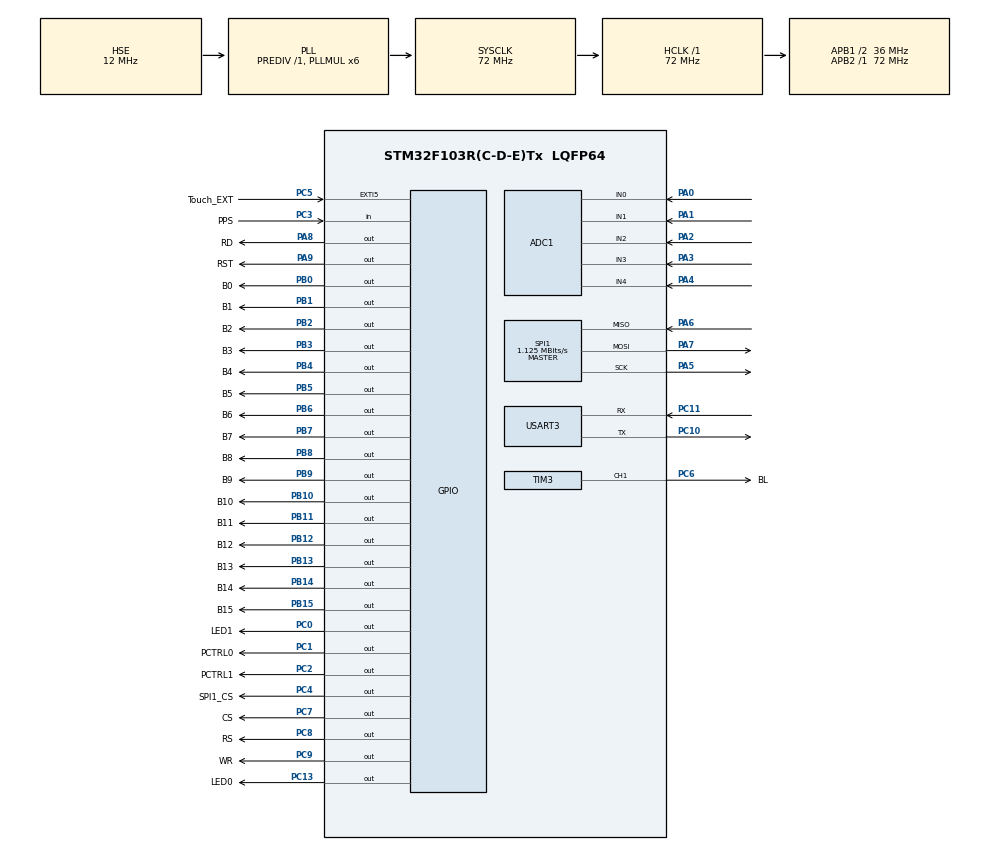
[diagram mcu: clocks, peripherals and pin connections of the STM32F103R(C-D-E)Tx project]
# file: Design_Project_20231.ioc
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ADC1.Channel-1\#ChannelRegularConversion=ADC_CHANNEL_0
ADC1.Channel-2\#ChannelRegularConversion=ADC_CHANNEL_1
ADC1.Channel-3\#ChannelRegularConversion=ADC_CHANNEL_2
ADC1.Channel-4\#ChannelRegularConversion=ADC_CHANNEL_3
ADC1.Channel-5\#ChannelRegularConversion=ADC_CHANNEL_4
ADC1.NbrOfConversion=5
ADC1.NbrOfConversionFlag=1
ADC1.Rank-1\#ChannelRegularConversion=1
ADC1.Rank-2\#ChannelRegularConversion=2
ADC1.Rank-3\#ChannelRegularConversion=3
ADC1.Rank-4\#ChannelRegularConversion=4
ADC1.Rank-5\#ChannelRegularConversion=5
ADC1.SamplingTime-1\#ChannelRegularConversion=ADC_SAMPLETIME_239CYCLES_5
ADC1.SamplingTime-2\#ChannelRegularConversion=ADC_SAMPLETIME_239CYCLES_5
ADC1.SamplingTime-3\#ChannelRegularConversion=ADC_SAMPLETIME_239CYCLES_5
ADC1.SamplingTime-4\#ChannelRegularConversion=ADC_SAMPLETIME_239CYCLES_5
ADC1.SamplingTime-5\#ChannelRegularConversion=ADC_SAMPLETIME_239CYCLES_5
ADC1.master=1
FREERTOS.HEAP_NUMBER=5
FREERTOS.Tasks01=mainTask,24,256,MainTask,Default,NULL,Dynamic,NULL,NULL;TouchTask,8,256,TouchHandler,Default,NULL,Dynamic,NULL,NULL
FREERTOS.configTOTAL_HEAP_SIZE=12288
Mcu.Family=STM32F1
Mcu.Name=STM32F103R(C-D-E)Tx
Mcu.Package=LQFP64
NVIC.ADC1_2_IRQn=true\:5\:0\:false\:false\:true\:true\:true\:true\:true
NVIC.EXTI9_5_IRQn=true\:5\:0\:false\:false\:true\:true\:true\:true\:true
NVIC.PriorityGroup=NVIC_PRIORITYGROUP_4
NVIC.RTC_IRQn=true\:5\:0\:false\:false\:true\:true\:true\:true\:true
NVIC.TIM7_IRQn=true\:15\:0\:false\:false\:true\:false\:false\:true\:true
NVIC.TimeBase=TIM7_IRQn
NVIC.TimeBaseIP=TIM7
NVIC.USART3_IRQn=true\:5\:0\:false\:false\:true\:true\:true\:true\:true
PA0-WKUP.Signal=ADCx_IN0
PA1.Signal=ADCx_IN1
PA13.Mode=Serial_Wire
PA13.Signal=SYS_JTMS-SWDIO
PA14.Mode=Serial_Wire
PA14.Signal=SYS_JTCK-SWCLK
PA2.Signal=ADCx_IN2
PA3.Signal=ADCx_IN3
PA4.Signal=ADCx_IN4
PA5.Mode=Full_Duplex_Master
PA5.Signal=SPI1_SCK
PA6.Mode=Full_Duplex_Master
PA6.Signal=SPI1_MISO
PA7.Mode=Full_Duplex_Master
PA7.Signal=SPI1_MOSI
PA8.GPIO_Label=RD
PA8.GPIO_Speed=GPIO_SPEED_FREQ_HIGH
PA8.PinState=GPIO_PIN_SET
PA8.Signal=GPIO_Output
PA9.GPIO_Label=RST
PA9.GPIO_Speed=GPIO_SPEED_FREQ_HIGH
PA9.PinState=GPIO_PIN_SET
PA9.Signal=GPIO_Output
PB0.GPIO_Label=B0
PB0.GPIO_Speed=GPIO_SPEED_FREQ_HIGH
PB0.PinState=GPIO_PIN_SET
PB0.Signal=GPIO_Output
PB1.GPIO_Label=B1
PB1.GPIO_Speed=GPIO_SPEED_FREQ_HIGH
PB1.PinState=GPIO_PIN_SET
PB1.Signal=GPIO_Output
PB10.GPIO_Label=B10
PB10.GPIO_Speed=GPIO_SPEED_FREQ_HIGH
PB10.PinState=GPIO_PIN_SET
PB10.Signal=GPIO_Output
PB11.GPIO_Label=B11
PB11.GPIO_PuPd=GPIO_NOPULL
PB11.GPIO_Speed=GPIO_SPEED_FREQ_HIGH
PB11.PinState=GPIO_PIN_SET
PB11.Signal=GPIO_Output
PB12.GPIO_Label=B12
PB12.GPIO_Speed=GPIO_SPEED_FREQ_HIGH
PB12.PinState=GPIO_PIN_SET
PB12.Signal=GPIO_Output
PB13.GPIO_Label=B13
PB13.GPIO_Speed=GPIO_SPEED_FREQ_HIGH
PB13.PinState=GPIO_PIN_SET
PB13.Signal=GPIO_Output
PB14.GPIO_Label=B14
PB14.GPIO_Speed=GPIO_SPEED_FREQ_HIGH
PB14.PinState=GPIO_PIN_SET
PB14.Signal=GPIO_Output
PB15.GPIO_Label=B15
PB15.GPIO_Speed=GPIO_SPEED_FREQ_HIGH
PB15.PinState=GPIO_PIN_SET
PB15.Signal=GPIO_Output
PB2.GPIO_Label=B2
PB2.GPIO_Speed=GPIO_SPEED_FREQ_HIGH
PB2.PinState=GPIO_PIN_SET
PB2.Signal=GPIO_Output
PB3.GPIO_Label=B3
PB3.GPIO_Speed=GPIO_SPEED_FREQ_HIGH
PB3.PinState=GPIO_PIN_SET
PB3.Signal=GPIO_Output
PB4.GPIO_Label=B4
PB4.GPIO_Speed=GPIO_SPEED_FREQ_HIGH
PB4.PinState=GPIO_PIN_SET
PB4.Signal=GPIO_Output
PB5.GPIO_Label=B5
PB5.GPIO_Speed=GPIO_SPEED_FREQ_HIGH
PB5.PinState=GPIO_PIN_SET
PB5.Signal=GPIO_Output
PB6.GPIO_Label=B6
PB6.GPIO_Speed=GPIO_SPEED_FREQ_HIGH
PB6.PinState=GPIO_PIN_SET
PB6.Signal=GPIO_Output
PB7.GPIO_Label=B7
PB7.GPIO_Speed=GPIO_SPEED_FREQ_HIGH
PB7.PinState=GPIO_PIN_SET
PB7.Signal=GPIO_Output
PB8.GPIO_Label=B8
PB8.GPIO_Speed=GPIO_SPEED_FREQ_HIGH
PB8.PinState=GPIO_PIN_SET
PB8.Signal=GPIO_Output
PB9.GPIO_Label=B9
PB9.GPIO_Speed=GPIO_SPEED_FREQ_HIGH
PB9.PinState=GPIO_PIN_SET
PB9.Signal=GPIO_Output
PC0.GPIO_Label=LED1
PC0.GPIO_PuPd=GPIO_PULLUP
PC0.PinState=GPIO_PIN_RESET
PC0.Signal=GPIO_Output
PC1.GPIO_Label=PCTRL0
PC1.GPIO_PuPd=GPIO_PULLUP
PC1.GPIO_Speed=GPIO_SPEED_FREQ_MEDIUM
PC1.Signal=GPIO_Output
PC10.Mode=Asynchronous
PC10.Signal=USART3_TX
PC11.Mode=Asynchronous
PC11.Signal=USART3_RX
PC13-TAMPER-RTC.GPIO_Label=LED0
PC13-TAMPER-RTC.GPIO_PuPd=GPIO_PULLUP
PC13-TAMPER-RTC.Signal=GPIO_Output
PC14-OSC32_IN.Mode=LSE-External-Oscillator
PC14-OSC32_IN.Signal=RCC_OSC32_IN
PC15-OSC32_OUT.Mode=LSE-External-Oscillator
PC15-OSC32_OUT.Signal=RCC_OSC32_OUT
PC2.GPIO_Label=PCTRL1
PC2.GPIO_PuPd=GPIO_PULLDOWN
PC2.GPIO_Speed=GPIO_SPEED_FREQ_MEDIUM
PC2.Signal=GPIO_Output
PC3.GPIO_Label=PPS
PC3.GPIO_PuPd=GPIO_PULLUP
PC3.Signal=GPIO_Input
PC4.GPIO_Label=SPI1_CS
PC4.GPIO_PuPd=GPIO_PULLUP
PC4.GPIO_Speed=GPIO_SPEED_FREQ_HIGH
PC4.Signal=GPIO_Output
PC5.GPIO_Label=Touch_EXT
PC5.GPIO_PuPd=GPIO_PULLUP
PC5.Signal=GPXTI5
PC6.GPIO_Label=BL
PC6.GPIO_Speed=GPIO_SPEED_FREQ_HIGH
PC6.Signal=S_TIM3_CH1
PC7.GPIO_Label=CS
PC7.GPIO_PuPd=GPIO_PULLUP
PC7.GPIO_Speed=GPIO_SPEED_FREQ_HIGH
PC7.PinState=GPIO_PIN_SET
PC7.Signal=GPIO_Output
PC8.GPIO_Label=RS
PC8.GPIO_Speed=GPIO_SPEED_FREQ_HIGH
PC8.PinState=GPIO_PIN_SET
PC8.Signal=GPIO_Output
PC9.GPIO_Label=WR
PC9.GPIO_Speed=GPIO_SPEED_FREQ_HIGH
PC9.PinState=GPIO_PIN_SET
PC9.Signal=GPIO_Output
PD0-OSC_IN.Mode=HSE-External-Oscillator
PD0-OSC_IN.Signal=RCC_OSC_IN
PD1-OSC_OUT.Mode=HSE-External-Oscillator
PD1-OSC_OUT.Signal=RCC_OSC_OUT
ProjectManager.HeapSize=0x200
ProjectManager.StackSize=0x400
ProjectManager.TargetToolchain=Makefile
RCC.ADCPresc=RCC_ADCPCLK2_DIV6
RCC.AHBFreq_Value=72000000
RCC.APB1CLKDivider=RCC_HCLK_DIV2
RCC.APB1Freq_Value=36000000
RCC.APB1TimFreq_Value=72000000
RCC.APB2Freq_Value=72000000
RCC.APB2TimFreq_Value=72000000
RCC.HCLKFreq_Value=72000000
RCC.HSE_VALUE=12000000
RCC.PLLMUL=RCC_PLL_MUL6
RCC.PLLSourceVirtual=RCC_PLLSOURCE_HSE
RCC.RTCClockSelection=RCC_RTCCLKSOURCE_LSE
RCC.SYSCLKFreq_VALUE=72000000
RCC.SYSCLKSource=RCC_SYSCLKSOURCE_PLLCLK
RCC.USBFreq_Value=72000000
RTC.AutoPrediv=RTC_AUTO_1_SECOND
RTC.Format=RTC_FORMAT_BIN
RTC.OutPut=RTC_OUTPUTSOURCE_NONE
SH.ADCx_IN0.0=ADC1_IN0,IN0
SH.ADCx_IN1.0=ADC1_IN1,IN1
SH.ADCx_IN2.0=ADC1_IN2,IN2
SH.ADCx_IN3.0=ADC1_IN3,IN3
SH.ADCx_IN4.0=ADC1_IN4,IN4
SH.S_TIM3_CH1.0=TIM3_CH1,PWM Generation1 CH1
SPI1.BaudRatePrescaler=SPI_BAUDRATEPRESCALER_64
SPI1.CalculateBaudRate=1.125 MBits/s
SPI1.Direction=SPI_DIRECTION_2LINES
SPI1.Mode=SPI_MODE_MASTER
SPI1.VirtualType=VM_MASTER
TIM3.Channel-PWM\ Generation1\ CH1=TIM_CHANNEL_1
TIM3.Period=9
TIM3.Prescaler=71
USART3.VirtualMode=VM_ASYNC
VP_FREERTOS_VS_CMSIS_V2.Mode=CMSIS_V2
VP_RTC_No_RTC_Output.Mode=RTC_OUT_NO
VP_RTC_VS_RTC_Activate.Mode=RTC_Enabled
VP_RTC_VS_RTC_Calendar.Mode=RTC_Calendar
VP_SYS_VS_tim7.Mode=TIM7
VP_TIM3_VS_ClockSourceINT.Mode=Internal
board=custom

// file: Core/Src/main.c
/* USER CODE BEGIN Header */
/**
 ******************************************************************************
 * @file           : main.c
 * @brief          : Main program body
 ******************************************************************************
 * @attention
 *
 * Copyright (c) 2023 STMicroelectronics.
 * All rights reserved.
 *
 * This software is licensed under terms that can be found in the LICENSE file
 * in the root directory of this software component.
 * If no LICENSE file comes with this software, it is provided AS-IS.
 *
 ******************************************************************************
 */
/* USER CODE END Header */
#include "main.h"
#include "cmsis_os.h"
#include "adc.h"
#include "rtc.h"
#include "spi.h"
#include "tim.h"
#include "usart.h"
#include "gpio.h"

/* USER CODE BEGIN Includes */
#include "lcd.h"
/* USER CODE END Includes */

void SystemClock_Config(void);
void MX_FREERTOS_Init(void);

int main(void)
{

  /* MCU Configuration--------------------------------------------------------*/

  /* Reset of all peripherals, Initializes the Flash interface and the Systick. */
  HAL_Init();

  /* Configure the system clock */
  SystemClock_Config();

  /* Initialize all configured peripherals */
  MX_GPIO_Init();
  MX_ADC1_Init();
  MX_RTC_Init();
  MX_SPI1_Init();
  MX_TIM3_Init();
  MX_USART3_UART_Init();
  /* USER CODE BEGIN 2 */

  HAL_GPIO_WritePin(PCTRL0_GPIO_Port, PCTRL0_Pin, GPIO_PIN_SET);

  HAL_GPIO_WritePin(PCTRL1_GPIO_Port, PCTRL1_Pin, GPIO_PIN_SET);

  ILI9341_Init();

  __HAL_TIM_SetCompare(&htim3, TIM_CHANNEL_1, 100);
  HAL_TIM_PWM_Start(&htim3, TIM_CHANNEL_1);

  ILI9341_FillScreen(ILI9341_YELLOW);

  uint32_t tickNow = HAL_GetTick();
  ILI9341_FillScreen(ILI9341_RED);
  ILI9341_FillScreen(ILI9341_GREEN);
  ILI9341_FillScreen(ILI9341_BLUE);
  tickNow = HAL_GetTick() - tickNow;

  char tempStr[15] = "";
  sprintf(tempStr, "Took %ld ms", tickNow);
  ILI9341_WriteString(80, 120, tempStr, Font_16x26, ILI9341_WHITE, ILI9341_BLACK);

  /* USER CODE END 2 */

  /* Init scheduler */
  osKernelInitialize();

  /* Call init function for freertos objects (in freertos.c) */
  MX_FREERTOS_Init();

  /* Start scheduler */
  osKernelStart();

  /* We should never get here as control is now taken by the scheduler */
  /* Infinite loop */
  while (1)
  {

  }
}

void SystemClock_Config(void)
{
  RCC_OscInitTypeDef RCC_OscInitStruct = {0};
  RCC_ClkInitTypeDef RCC_ClkInitStruct = {0};
  RCC_PeriphCLKInitTypeDef PeriphClkInit = {0};

  /** Initializes the RCC Oscillators according to the specified parameters
  * in the RCC_OscInitTypeDef structure.
  */
  RCC_OscInitStruct.OscillatorType = RCC_OSCILLATORTYPE_HSE|RCC_OSCILLATORTYPE_LSE;
  RCC_OscInitStruct.HSEState = RCC_HSE_ON;
  RCC_OscInitStruct.HSEPredivValue = RCC_HSE_PREDIV_DIV1;
  RCC_OscInitStruct.LSEState = RCC_LSE_ON;
  RCC_OscInitStruct.HSIState = RCC_HSI_ON;
  RCC_OscInitStruct.PLL.PLLState = RCC_PLL_ON;
  RCC_OscInitStruct.PLL.PLLSource = RCC_PLLSOURCE_HSE;
  RCC_OscInitStruct.PLL.PLLMUL = RCC_PLL_MUL6;
  if (HAL_RCC_OscConfig(&RCC_OscInitStruct) != HAL_OK)
  {
    Error_Handler();
  }

  /** Initializes the CPU, AHB and APB buses clocks
  */
  RCC_ClkInitStruct.ClockType = RCC_CLOCKTYPE_HCLK|RCC_CLOCKTYPE_SYSCLK
                              |RCC_CLOCKTYPE_PCLK1|RCC_CLOCKTYPE_PCLK2;
  RCC_ClkInitStruct.SYSCLKSource = RCC_SYSCLKSOURCE_PLLCLK;
  RCC_ClkInitStruct.AHBCLKDivider = RCC_SYSCLK_DIV1;
  RCC_ClkInitStruct.APB1CLKDivider = RCC_HCLK_DIV2;
  RCC_ClkInitStruct.APB2CLKDivider = RCC_HCLK_DIV1;

  if (HAL_RCC_ClockConfig(&RCC_ClkInitStruct, FLASH_LATENCY_2) != HAL_OK)
  {
    Error_Handler();
  }
  PeriphClkInit.PeriphClockSelection = RCC_PERIPHCLK_RTC|RCC_PERIPHCLK_ADC;
  PeriphClkInit.RTCClockSelection = RCC_RTCCLKSOURCE_LSE;
  PeriphClkInit.AdcClockSelection = RCC_ADCPCLK2_DIV6;
  if (HAL_RCCEx_PeriphCLKConfig(&PeriphClkInit) != HAL_OK)
  {
    Error_Handler();
  }
}

void HAL_TIM_PeriodElapsedCallback(TIM_HandleTypeDef *htim)
{
  if (htim->Instance == TIM7) {
    HAL_IncTick();
  }
}

void Error_Handler(void)
{
  __disable_irq();
  while (1)
  {
  }
}

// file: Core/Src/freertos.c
/* USER CODE BEGIN Header */
/**
 ******************************************************************************
 * File Name          : freertos.c
 * Description        : Code for freertos applications
 ******************************************************************************
 * @attention
 *
 * Copyright (c) 2023 STMicroelectronics.
 * All rights reserved.
 *
 * This software is licensed under terms that can be found in the LICENSE file
 * in the root directory of this software component.
 * If no LICENSE file comes with this software, it is provided AS-IS.
 *
 ******************************************************************************
 */
/* USER CODE END Header */

#include "FreeRTOS.h"
#include "task.h"
#include "main.h"
#include "cmsis_os.h"

/* USER CODE BEGIN Includes */

#include <stdio.h>

#include "rtc.h"
#include "lcd.h"
#include "tim.h"
#include "font.h"

/* USER CODE END Includes */

/* Definitions for mainTask */
osThreadId_t mainTaskHandle;
const osThreadAttr_t mainTask_attributes = {
  .name = "mainTask",
  .stack_size = 256 * 4,
  .priority = (osPriority_t) osPriorityNormal,
};
/* Definitions for TouchTask */
osThreadId_t TouchTaskHandle;
const osThreadAttr_t TouchTask_attributes = {
  .name = "TouchTask",
  .stack_size = 256 * 4,
  .priority = (osPriority_t) osPriorityLow,
};

void MainTask(void *argument);
void TouchHandler(void *argument);

void MX_FREERTOS_Init(void); /* (MISRA C 2004 rule 8.1) */

void MX_FREERTOS_Init(void) {

  /* Create the thread(s) */
  /* creation of mainTask */
  mainTaskHandle = osThreadNew(MainTask, NULL, &mainTask_attributes);

  /* creation of TouchTask */
  TouchTaskHandle = osThreadNew(TouchHandler, NULL, &TouchTask_attributes);

}

void MainTask(void *argument)
{
  /* USER CODE BEGIN MainTask */
  HAL_RTCEx_SetSecond_IT(&hrtc);
  uint32_t tickNow = 0;
  uint32_t count = 0;
  // ILI9341_Init();

  // __HAL_TIM_SetCompare(&htim3, TIM_CHANNEL_1, 100);
  // HAL_TIM_PWM_Start(&htim3, TIM_CHANNEL_1);

  // ILI9341_FillScreen(ILI9341_YELLOW);

  /* Infinite loop */
  for (;;)
  {
    // HAL_GPIO_TogglePin(LED1_GPIO_Port, LED1_Pin);
    // HAL_GPIO_TogglePin(LED0_GPIO_Port, LED0_Pin);
    osDelay(1000);

    // tickNow = HAL_GetTick();
    // ILI9341_FillScreen(ILI9341_RED);
    // ILI9341_FillScreen(ILI9341_GREEN);
    // ILI9341_FillScreen(ILI9341_BLUE);
    // tickNow = HAL_GetTick() - tickNow;

    // char tempStr[15] = "";
    // sprintf(tempStr, "Took %ld ms", tickNow);
    // ILI9341_WriteString(80, 120, tempStr, Font_16x26, ILI9341_WHITE, ILI9341_BLACK);

    count++;
    if (count == 20)
    {
      HAL_GPIO_WritePin(PCTRL0_GPIO_Port, PCTRL0_Pin, GPIO_PIN_RESET);
      HAL_GPIO_WritePin(PCTRL1_GPIO_Port, PCTRL1_Pin, GPIO_PIN_RESET);
    }
  }
  /* USER CODE END MainTask */
}

void TouchHandler(void *argument)
{
  for(;;)
  {
    osDelay(1);
  }
}

/* USER CODE BEGIN Application */

void HAL_RTCEx_RTCEventCallback(RTC_HandleTypeDef *hrtc)
{
  HAL_GPIO_TogglePin(LED0_GPIO_Port, LED0_Pin);
}

/* USER CODE END Application */
